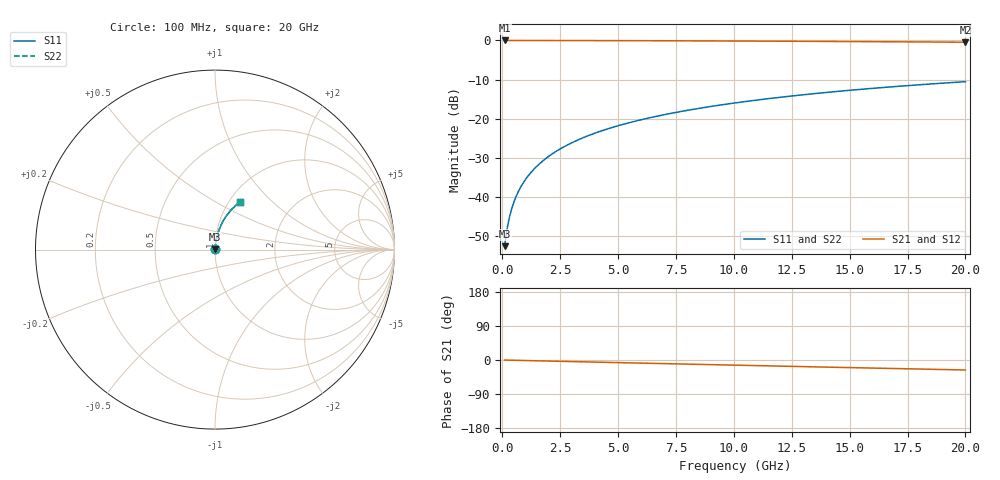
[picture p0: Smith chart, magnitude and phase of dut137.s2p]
! Touchstone file exported from HFSS 2026.1.0
!  File:  C:/ffzhzh/LocalFiles/Ansys_Project_Files/temp_train_TMRDL_137_1782982879_6248.aedt
!  Generated:  05:02:34 PM Jul  2, 2026
!  Design:  TMRDL
!  Project:  temp_train_TMRDL_137_1782982879_6248
! Variables:
!  h_bsmrdl = 2um
!  h_ox = 20um
!  h_rdl = 5um
!  h_sub = 80um
!  h_tmrdl = 3.97um
!  h_tsv = 80um
!  h_via = 3um
!  l_bsmrdl = 300um
!  l_sub = 714.91um
!  l_tmrdl = 314.91um
!  m_sub = 200um
!  pitch = 57.66um
!  r_tsv = 6um
!  s_tmrdl = 10um
!  w_bsmrdl = 18um
!  w_sub = 500um
!  w_tmrdl = 19.96um
!  x_tsv_center1 = 324.89um
!  x_tsv_center2 = 642.89um
!  x_tsv_center3 = 977.76um
!  x_tsv_center4 = 1295.76um
!  x_tsv_center5 = 1630.63um
!  x_tsv_center6 = 1948.63um
# GHz S MA R 50.000000
! Terminal data exported
! Port[1] = TM_RDL1_1_T1
! Port[2] = TM_RDL1_1_T2
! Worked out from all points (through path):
!   200 points, 100 MHz to 20 GHz, reference 50 ohm
!   highest |S21| = -0.01 dB at 100 MHz (marker M1); lowest = -0.5 dB at 20 GHz (marker M2)
!   group delay of S21, straight-line fit = 3.66 ps
!   lowest |S11| = -52.6 dB at 100 MHz (marker M3), VSWR 1.00, Z = 50.2 + j0.174 ohm
!   |S11| at or under -10 dB: start of sweep to end of sweep
!   |S22| runs from -52.6 to -10.5 dB; largest |S21 - S12| = 3.1e-15
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0.1  0.002351 47.6  0.9984 -0.1  0.9984 -0.1  0.002351 47.6
! Gamma 0 0 0 0
! Port Impedance 50 0 50 0
0.2  0.003818 64.2  0.9984 -0.3  0.9984 -0.3  0.003818 64.2
0.3  0.005395 71.1  0.9983 -0.4  0.9983 -0.4  0.005395 71.1
0.4  0.006993 74.8  0.9982 -0.6  0.9982 -0.6  0.006993 74.8
0.5  0.008597 77.1  0.9982 -0.7  0.9982 -0.7  0.008597 77.1
0.7  0.01182 79.9  0.9981 -1.0  0.9981 -1.0  0.01182 79.9
0.8  0.01344 80.8  0.998 -1.1  0.998 -1.1  0.01344 80.8
1  0.01668 81.9  0.9979 -1.4  0.9979 -1.4  0.01668 81.9
1.2  0.01993 82.6  0.9978 -1.7  0.9978 -1.7  0.01993 82.6
1.4  0.02319 83.1  0.9977 -2.0  0.9977 -2.0  0.02319 83.1
1.7  0.02808 83.4  0.9975 -2.4  0.9975 -2.4  0.02808 83.4
2  0.03296 83.5  0.9973 -2.8  0.9973 -2.8  0.03296 83.5
2.7  0.04434 83.2  0.9967 -3.7  0.9967 -3.7  0.04434 83.2
3.5  0.05726 82.6  0.9958 -4.8  0.9958 -4.8  0.05726 82.6
4.2  0.06849 81.8  0.9948 -5.8  0.9948 -5.8  0.06849 81.8
5  0.08122 80.9  0.9936 -6.9  0.9936 -6.9  0.08122 80.9
6.8  0.1095 78.7  0.9902 -9.3  0.9902 -9.3  0.1095 78.7
8.3  0.1325 76.8  0.987 -11.3  0.987 -11.3  0.1325 76.8
10.1  0.1597 74.6  0.9824 -13.7  0.9824 -13.7  0.1597 74.6
13.4  0.2079 70.5  0.9727 -18.0  0.9727 -18.0  0.2079 70.5
16.7  0.2538 66.4  0.9612 -22.2  0.9612 -22.2  0.2538 66.4
20  0.2971 62.4  0.9484 -26.3  0.9484 -26.3  0.2971 62.4
